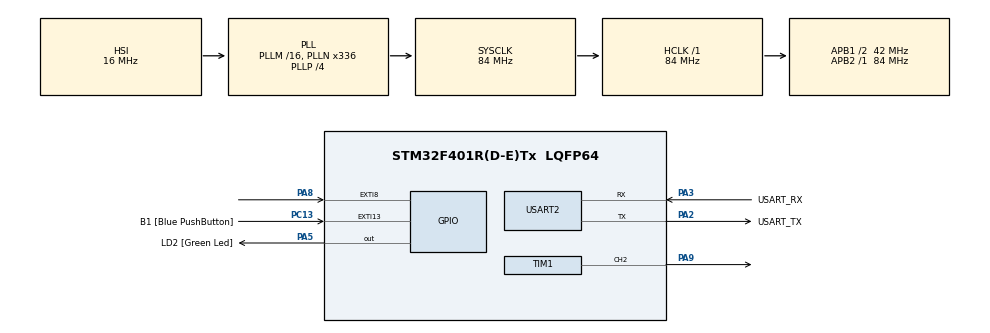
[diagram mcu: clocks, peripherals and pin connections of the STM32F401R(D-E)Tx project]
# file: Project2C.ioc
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Mcu.Family=STM32F4
Mcu.Name=STM32F401R(D-E)Tx
Mcu.Package=LQFP64
NVIC.EXTI9_5_IRQn=true\:1\:0\:true\:false\:true\:true\:true\:true
NVIC.PriorityGroup=NVIC_PRIORITYGROUP_1
PA13.GPIO_Label=TMS
PA13.Mode=Serial_Wire
PA13.Signal=SYS_JTMS-SWDIO
PA14.GPIO_Label=TCK
PA14.Mode=Serial_Wire
PA14.Signal=SYS_JTCK-SWCLK
PA2.GPIO_Label=USART_TX
PA2.GPIO_Mode=GPIO_MODE_AF_PP
PA2.GPIO_PuPd=GPIO_NOPULL
PA2.GPIO_Speed=GPIO_SPEED_FREQ_LOW
PA2.Mode=Asynchronous
PA2.Signal=USART2_TX
PA3.GPIO_Label=USART_RX
PA3.GPIO_Mode=GPIO_MODE_AF_PP
PA3.GPIO_PuPd=GPIO_NOPULL
PA3.GPIO_Speed=GPIO_SPEED_FREQ_LOW
PA3.Mode=Asynchronous
PA3.Signal=USART2_RX
PA5.GPIO_Label=LD2 [Green Led]
PA5.GPIO_Mode=GPIO_MODE_OUTPUT_PP
PA5.GPIO_PuPd=GPIO_NOPULL
PA5.GPIO_Speed=GPIO_SPEED_FREQ_LOW
PA5.Signal=GPIO_Output
PA8.Signal=GPXTI8
PA9.Signal=S_TIM1_CH2
PB3.GPIO_Label=SWO
PB3.Signal=SYS_JTDO-SWO
PC13-ANTI_TAMP.GPIO_Label=B1 [Blue PushButton]
PC13-ANTI_TAMP.GPIO_ModeDefaultEXTI=GPIO_MODE_IT_FALLING
PC13-ANTI_TAMP.GPIO_PuPd=GPIO_NOPULL
PC13-ANTI_TAMP.Signal=GPXTI13
PC14-OSC32_IN.Mode=LSE-External-Oscillator
PC14-OSC32_IN.Signal=RCC_OSC32_IN
PC15-OSC32_OUT.Mode=LSE-External-Oscillator
PC15-OSC32_OUT.Signal=RCC_OSC32_OUT
PH0\ -\ OSC_IN.Mode=HSE-External-Clock-Source
PH0\ -\ OSC_IN.Signal=RCC_OSC_IN
PH1\ -\ OSC_OUT.Mode=HSE-External-Clock-Source
PH1\ -\ OSC_OUT.Signal=RCC_OSC_OUT
ProjectManager.HeapSize=0x200
ProjectManager.StackSize=0x400
ProjectManager.TargetToolchain=STM32CubeIDE
RCC.48MHZClocksFreq_Value=48000000
RCC.AHBFreq_Value=84000000
RCC.APB1CLKDivider=RCC_HCLK_DIV2
RCC.APB1Freq_Value=42000000
RCC.APB1TimFreq_Value=84000000
RCC.APB2Freq_Value=84000000
RCC.APB2TimFreq_Value=84000000
RCC.CortexFreq_Value=84000000
RCC.HCLKFreq_Value=84000000
RCC.HSE_VALUE=8000000
RCC.HSI_VALUE=16000000
RCC.PLLN=336
RCC.PLLP=RCC_PLLP_DIV4
RCC.PLLQ=7
RCC.SYSCLKFreq_VALUE=84000000
RCC.SYSCLKSource=RCC_SYSCLKSOURCE_PLLCLK
RCC.VCOOutputFreq_Value=336000000
SH.S_TIM1_CH2.0=TIM1_CH2,PWM Generation2 CH2
TIM1.Channel-PWM\ Generation2\ CH2=TIM_CHANNEL_2
TIM1.Prescaler=99
USART2.VirtualMode=VM_ASYNC
VP_TIM1_VS_ClockSourceINT.Mode=Internal
board=NUCLEO-F401RE

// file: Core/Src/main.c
/* USER CODE BEGIN Header */
/**
  ******************************************************************************
  * @file           : main.c
  * @brief          : Main program body
  ******************************************************************************
  * @attention
  *
  * Copyright (c) 2023 STMicroelectronics.
  * All rights reserved.
  *
  * This software is licensed under terms that can be found in the LICENSE file
  * in the root directory of this software component.
  * If no LICENSE file comes with this software, it is provided AS-IS.
  *
  ******************************************************************************
  */
/* USER CODE END Header */
#include "main.h"

/* USER CODE BEGIN PTD */
struct note{
	int tone;
	int duration;
};
/* USER CODE END PTD */

/* USER CODE BEGIN PD */
#define _DO4 3205
#define _DOD4 3031
#define _RE4 2856
#define _RED4 2699
#define _MI4 2544
#define _FA4 2405
#define _FAD4 2269
#define _SOL4 2141
#define _SOLD4 2023
#define _LA4 1908
#define _LAD4 1801
#define _SI4 1699

#define TEMPO 75
/* USER CODE END PD */

TIM_HandleTypeDef htim1;

UART_HandleTypeDef huart2;

/* USER CODE BEGIN PV */
struct note score[] = {
		{_SOL4,6},
		{_LA4,2},
		{_SOL4,4},
		{_FA4,4},
		{_MI4,4},
		{_FA4,4},
		{_SOL4,8},
		{_RE4,4},
		{_MI4,4},
		{_FA4,8},
		{_MI4,4},
		{_FA4,4},
		{_SOL4,8},
		{_SOL4,6},
		{_LA4,2},
		{_SOL4,4},
		{_FA4,4},
		{_MI4,4},
		{_FA4,4},
		{_SOL4,8},
		{_RE4,8},
		{_SOL4,8},
		{_MI4,4},
		{_DO4,12},
};
/* USER CODE END PV */

void SystemClock_Config(void);
static void MX_GPIO_Init(void);
static void MX_USART2_UART_Init(void);
static void MX_TIM1_Init(void);

/* USER CODE BEGIN 0 */
void playnote(struct note noteplaying)
{

      /*
	  TIM_ClockConfigTypeDef sClockSourceConfig = {0};
	  TIM_MasterConfigTypeDef sMasterConfig = {0};
	  TIM_OC_InitTypeDef sConfigOC = {0};
	  TIM_BreakDeadTimeConfigTypeDef sBreakDeadTimeConfig = {0};

	  htim1.Instance = TIM1;
	  htim1.Init.Prescaler = 99;
	  htim1.Init.CounterMode = TIM_COUNTERMODE_UP;
	  htim1.Init.Period = noteplaying.tone;
	  htim1.Init.ClockDivision = TIM_CLOCKDIVISION_DIV1;
	  htim1.Init.RepetitionCounter = 0;
	  htim1.Init.AutoReloadPreload = TIM_AUTORELOAD_PRELOAD_DISABLE;
	  if (HAL_TIM_Base_Init(&htim1) != HAL_OK)
	  {
	    Error_Handler();
	  }
	  sClockSourceConfig.ClockSource = TIM_CLOCKSOURCE_INTERNAL;
	  if (HAL_TIM_ConfigClockSource(&htim1, &sClockSourceConfig) != HAL_OK)
	  {
	    Error_Handler();
	  }
	  if (HAL_TIM_PWM_Init(&htim1) != HAL_OK)
	  {
	    Error_Handler();
	  }
	  sMasterConfig.MasterOutputTrigger = TIM_TRGO_RESET;
	  sMasterConfig.MasterSlaveMode = TIM_MASTERSLAVEMODE_DISABLE;
	  if (HAL_TIMEx_MasterConfigSynchronization(&htim1, &sMasterConfig) != HAL_OK)
	  {
	    Error_Handler();
	  }
	  sConfigOC.OCMode = TIM_OCMODE_PWM1;
	  sConfigOC.Pulse = noteplaying.tone/2;
	  sConfigOC.OCPolarity = TIM_OCPOLARITY_HIGH;
	  sConfigOC.OCNPolarity = TIM_OCNPOLARITY_HIGH;
	  sConfigOC.OCFastMode = TIM_OCFAST_DISABLE;
	  sConfigOC.OCIdleState = TIM_OCIDLESTATE_RESET;
	  sConfigOC.OCNIdleState = TIM_OCNIDLESTATE_RESET;
	  if (HAL_TIM_PWM_ConfigChannel(&htim1, &sConfigOC, TIM_CHANNEL_2) != HAL_OK)
	  {
	    Error_Handler();
	  }
	  sBreakDeadTimeConfig.OffStateRunMode = TIM_OSSR_DISABLE;
	  sBreakDeadTimeConfig.OffStateIDLEMode = TIM_OSSI_DISABLE;
	  sBreakDeadTimeConfig.LockLevel = TIM_LOCKLEVEL_OFF;
	  sBreakDeadTimeConfig.DeadTime = 0;
	  sBreakDeadTimeConfig.BreakState = TIM_BREAK_DISABLE;
	  sBreakDeadTimeConfig.BreakPolarity = TIM_BREAKPOLARITY_HIGH;
	  sBreakDeadTimeConfig.AutomaticOutput = TIM_AUTOMATICOUTPUT_DISABLE;
	  if (HAL_TIMEx_ConfigBreakDeadTime(&htim1, &sBreakDeadTimeConfig) != HAL_OK)
	  {
	    Error_Handler();
	  }

	  HAL_TIM_MspPostInit(&htim1);
      */
	  __HAL_TIM_SET_AUTORELOAD(&htim1,noteplaying.tone);
	  __HAL_TIM_SET_COMPARE(&htim1, TIM_CHANNEL_2,noteplaying.tone/2);
	  __HAL_TIM_SET_COUNTER(&htim1,0);

      HAL_TIM_PWM_Start(&htim1, TIM_CHANNEL_2);
      HAL_Delay(noteplaying.duration*TEMPO);
      HAL_TIM_PWM_Stop(&htim1, TIM_CHANNEL_2);

}
void playsong(){
	int length = sizeof(score)/sizeof(score[0]);
	for (int i = 0; i < length; i++){
		playnote(score[i]);
	}
}
void HAL_GPIO_EXTI_Callback(uint16_t GPIO_Pin)
{

	if(GPIO_Pin == GPIO_PIN_8){
		playsong();
		HAL_Delay(10);
		__HAL_GPIO_EXTI_CLEAR_IT(GPIO_Pin);
	}
}
/* USER CODE END 0 */

int main(void)
{

  /* MCU Configuration--------------------------------------------------------*/

  /* Reset of all peripherals, Initializes the Flash interface and the Systick. */
  HAL_Init();

  /* Configure the system clock */
  SystemClock_Config();

  /* Initialize all configured peripherals */
  MX_GPIO_Init();
  MX_USART2_UART_Init();
  MX_TIM1_Init();

  /* Infinite loop */
  while (1)
  {

  }
}

void SystemClock_Config(void)
{
  RCC_OscInitTypeDef RCC_OscInitStruct = {0};
  RCC_ClkInitTypeDef RCC_ClkInitStruct = {0};

  /** Configure the main internal regulator output voltage
  */
  __HAL_RCC_PWR_CLK_ENABLE();
  __HAL_PWR_VOLTAGESCALING_CONFIG(PWR_REGULATOR_VOLTAGE_SCALE2);

  /** Initializes the RCC Oscillators according to the specified parameters
  * in the RCC_OscInitTypeDef structure.
  */
  RCC_OscInitStruct.OscillatorType = RCC_OSCILLATORTYPE_HSI;
  RCC_OscInitStruct.HSIState = RCC_HSI_ON;
  RCC_OscInitStruct.HSICalibrationValue = RCC_HSICALIBRATION_DEFAULT;
  RCC_OscInitStruct.PLL.PLLState = RCC_PLL_ON;
  RCC_OscInitStruct.PLL.PLLSource = RCC_PLLSOURCE_HSI;
  RCC_OscInitStruct.PLL.PLLM = 16;
  RCC_OscInitStruct.PLL.PLLN = 336;
  RCC_OscInitStruct.PLL.PLLP = RCC_PLLP_DIV4;
  RCC_OscInitStruct.PLL.PLLQ = 7;
  if (HAL_RCC_OscConfig(&RCC_OscInitStruct) != HAL_OK)
  {
    Error_Handler();
  }

  /** Initializes the CPU, AHB and APB buses clocks
  */
  RCC_ClkInitStruct.ClockType = RCC_CLOCKTYPE_HCLK|RCC_CLOCKTYPE_SYSCLK
                              |RCC_CLOCKTYPE_PCLK1|RCC_CLOCKTYPE_PCLK2;
  RCC_ClkInitStruct.SYSCLKSource = RCC_SYSCLKSOURCE_PLLCLK;
  RCC_ClkInitStruct.AHBCLKDivider = RCC_SYSCLK_DIV1;
  RCC_ClkInitStruct.APB1CLKDivider = RCC_HCLK_DIV2;
  RCC_ClkInitStruct.APB2CLKDivider = RCC_HCLK_DIV1;

  if (HAL_RCC_ClockConfig(&RCC_ClkInitStruct, FLASH_LATENCY_2) != HAL_OK)
  {
    Error_Handler();
  }
}

static void MX_TIM1_Init(void)
{

  TIM_ClockConfigTypeDef sClockSourceConfig = {0};
  TIM_MasterConfigTypeDef sMasterConfig = {0};
  TIM_OC_InitTypeDef sConfigOC = {0};
  TIM_BreakDeadTimeConfigTypeDef sBreakDeadTimeConfig = {0};

  htim1.Instance = TIM1;
  htim1.Init.Prescaler = 99;
  htim1.Init.CounterMode = TIM_COUNTERMODE_UP;
  htim1.Init.Period = 65535;
  htim1.Init.ClockDivision = TIM_CLOCKDIVISION_DIV1;
  htim1.Init.RepetitionCounter = 0;
  htim1.Init.AutoReloadPreload = TIM_AUTORELOAD_PRELOAD_DISABLE;
  if (HAL_TIM_Base_Init(&htim1) != HAL_OK)
  {
    Error_Handler();
  }
  sClockSourceConfig.ClockSource = TIM_CLOCKSOURCE_INTERNAL;
  if (HAL_TIM_ConfigClockSource(&htim1, &sClockSourceConfig) != HAL_OK)
  {
    Error_Handler();
  }
  if (HAL_TIM_PWM_Init(&htim1) != HAL_OK)
  {
    Error_Handler();
  }
  sMasterConfig.MasterOutputTrigger = TIM_TRGO_RESET;
  sMasterConfig.MasterSlaveMode = TIM_MASTERSLAVEMODE_DISABLE;
  if (HAL_TIMEx_MasterConfigSynchronization(&htim1, &sMasterConfig) != HAL_OK)
  {
    Error_Handler();
  }
  sConfigOC.OCMode = TIM_OCMODE_PWM1;
  sConfigOC.Pulse = 0;
  sConfigOC.OCPolarity = TIM_OCPOLARITY_HIGH;
  sConfigOC.OCNPolarity = TIM_OCNPOLARITY_HIGH;
  sConfigOC.OCFastMode = TIM_OCFAST_DISABLE;
  sConfigOC.OCIdleState = TIM_OCIDLESTATE_RESET;
  sConfigOC.OCNIdleState = TIM_OCNIDLESTATE_RESET;
  if (HAL_TIM_PWM_ConfigChannel(&htim1, &sConfigOC, TIM_CHANNEL_2) != HAL_OK)
  {
    Error_Handler();
  }
  sBreakDeadTimeConfig.OffStateRunMode = TIM_OSSR_DISABLE;
  sBreakDeadTimeConfig.OffStateIDLEMode = TIM_OSSI_DISABLE;
  sBreakDeadTimeConfig.LockLevel = TIM_LOCKLEVEL_OFF;
  sBreakDeadTimeConfig.DeadTime = 0;
  sBreakDeadTimeConfig.BreakState = TIM_BREAK_DISABLE;
  sBreakDeadTimeConfig.BreakPolarity = TIM_BREAKPOLARITY_HIGH;
  sBreakDeadTimeConfig.AutomaticOutput = TIM_AUTOMATICOUTPUT_DISABLE;
  if (HAL_TIMEx_ConfigBreakDeadTime(&htim1, &sBreakDeadTimeConfig) != HAL_OK)
  {
    Error_Handler();
  }
  HAL_TIM_MspPostInit(&htim1);

}

static void MX_USART2_UART_Init(void)
{

  huart2.Instance = USART2;
  huart2.Init.BaudRate = 115200;
  huart2.Init.WordLength = UART_WORDLENGTH_8B;
  huart2.Init.StopBits = UART_STOPBITS_1;
  huart2.Init.Parity = UART_PARITY_NONE;
  huart2.Init.Mode = UART_MODE_TX_RX;
  huart2.Init.HwFlowCtl = UART_HWCONTROL_NONE;
  huart2.Init.OverSampling = UART_OVERSAMPLING_16;
  if (HAL_UART_Init(&huart2) != HAL_OK)
  {
    Error_Handler();
  }

}

static void MX_GPIO_Init(void)
{
  GPIO_InitTypeDef GPIO_InitStruct = {0};

  /* GPIO Ports Clock Enable */
  __HAL_RCC_GPIOC_CLK_ENABLE();
  __HAL_RCC_GPIOH_CLK_ENABLE();
  __HAL_RCC_GPIOA_CLK_ENABLE();
  __HAL_RCC_GPIOB_CLK_ENABLE();

  /*Configure GPIO pin Output Level */
  HAL_GPIO_WritePin(LD2_GPIO_Port, LD2_Pin, GPIO_PIN_RESET);

  /*Configure GPIO pin : B1_Pin */
  GPIO_InitStruct.Pin = B1_Pin;
  GPIO_InitStruct.Mode = GPIO_MODE_IT_FALLING;
  GPIO_InitStruct.Pull = GPIO_NOPULL;
  HAL_GPIO_Init(B1_GPIO_Port, &GPIO_InitStruct);

  /*Configure GPIO pin : LD2_Pin */
  GPIO_InitStruct.Pin = LD2_Pin;
  GPIO_InitStruct.Mode = GPIO_MODE_OUTPUT_PP;
  GPIO_InitStruct.Pull = GPIO_NOPULL;
  GPIO_InitStruct.Speed = GPIO_SPEED_FREQ_LOW;
  HAL_GPIO_Init(LD2_GPIO_Port, &GPIO_InitStruct);

  /*Configure GPIO pin : PA8 */
  GPIO_InitStruct.Pin = GPIO_PIN_8;
  GPIO_InitStruct.Mode = GPIO_MODE_IT_RISING;
  GPIO_InitStruct.Pull = GPIO_NOPULL;
  HAL_GPIO_Init(GPIOA, &GPIO_InitStruct);

  /* EXTI interrupt init*/
  HAL_NVIC_SetPriority(EXTI9_5_IRQn, 1, 0);
  HAL_NVIC_EnableIRQ(EXTI9_5_IRQn);

}

void Error_Handler(void)
{
  __disable_irq();
  while (1)
  {
  }
}
